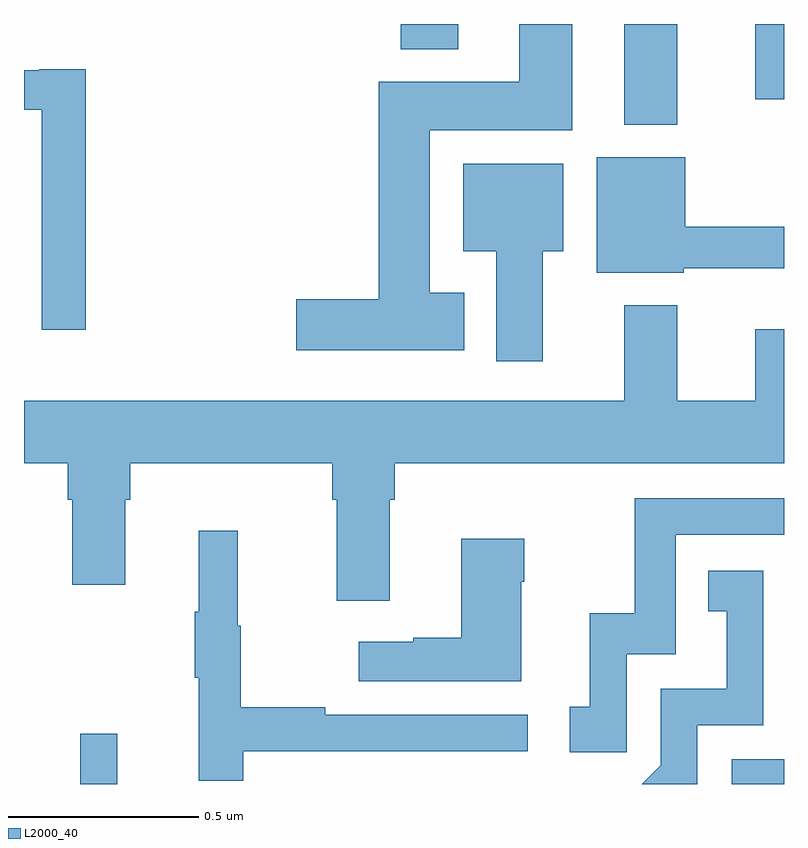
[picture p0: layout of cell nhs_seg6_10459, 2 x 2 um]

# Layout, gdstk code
import gdstk
lib = gdstk.Library(unit=1e-6, precision=1e-09)
def R(c, l, rs):  # rectangles x0, y0, x1, y1
    for r in rs: c.add(gdstk.rectangle(r[:2], r[2:], *l))
def P(c, l, *ps):  # polygons
    for p in ps: c.add(gdstk.Polygon(p, *l))
L2000_40 = (2000, 40)

nhs_seg6_10459 = lib.new_cell('nhs_seg6_10459')
R(nhs_seg6_10459, L2000_40, [(247.148,938.5,247.245,938.632), (248.862,938.5,249,938.565), (248.579,940.235,248.719,940.5), (248.924,940.302,249,940.5), (247.991,940.433,248.143,940.5)])
P(nhs_seg6_10459, L2000_40, [(248.158,939.793),(248.068,939.793),(248.068,940.22),(248.443,940.22),(248.443,940.5),(248.303,940.5),(248.303,940.348),(247.934,940.348),(247.934,939.776),(247.716,939.776),(247.716,939.641),(248.158,939.641)],
  [(247.163,940.381),(247.04,940.381),(247.04,940.378),(247,940.378),(247,940.274),(247.047,940.274),(247.047,939.696),(247.163,939.696)],
  [(248.736,939.857),(249,939.857),(249,939.967),(248.74,939.967),(248.74,940.15),(248.507,940.15),(248.507,939.845),(248.736,939.845)],
  [(248.365,939.902),(248.419,939.902),(248.419,940.132),(248.156,940.132),(248.156,939.902),(248.243,939.902),(248.243,939.612),(248.365,939.612)],
  [(247.963,939.248),(247.976,939.248),(247.976,939.344),(249,939.344),(249,939.697),(248.924,939.697),(248.924,939.508),(248.719,939.508),(248.719,939.76),(248.579,939.76),(248.579,939.508),(247,939.508),(247,939.344),(247.115,939.344),(247.115,939.248),(247.127,939.248),(247.127,939.024),(247.267,939.024),(247.267,939.248),(247.28,939.248),(247.28,939.344),(247.811,939.344),(247.811,939.248),(247.823,939.248),(247.823,938.982),(247.963,938.982)],
  [(248.586,938.841),(248.715,938.841),(248.715,939.156),(249,939.156),(249,939.252),(248.607,939.252),(248.607,938.95),(248.489,938.95),(248.489,938.703),(248.436,938.703),(248.436,938.583),(248.586,938.583)],
  [(247.577,938.586),(248.326,938.586),(248.326,938.682),(247.793,938.682),(247.793,938.702),(247.57,938.702),(247.57,938.916),(247.562,938.916),(247.562,939.166),(247.46,939.166),(247.46,938.953),(247.449,938.953),(247.449,938.779),(247.46,938.779),(247.46,938.508),(247.577,938.508)],
  [(248.308,939.032),(248.316,939.032),(248.316,939.145),(248.15,939.145),(248.15,938.885),(248.024,938.885),(248.024,938.875),(247.881,938.875),(247.881,938.771),(248.308,938.771)],
  [(248.772,938.655),(248.946,938.655),(248.946,939.061),(248.8,939.061),(248.8,938.955),(248.849,938.955),(248.849,938.751),(248.676,938.751),(248.676,938.55),(248.626,938.5),(248.772,938.5)])

lib.write_gds('nhs_seg6_10459.gds')
